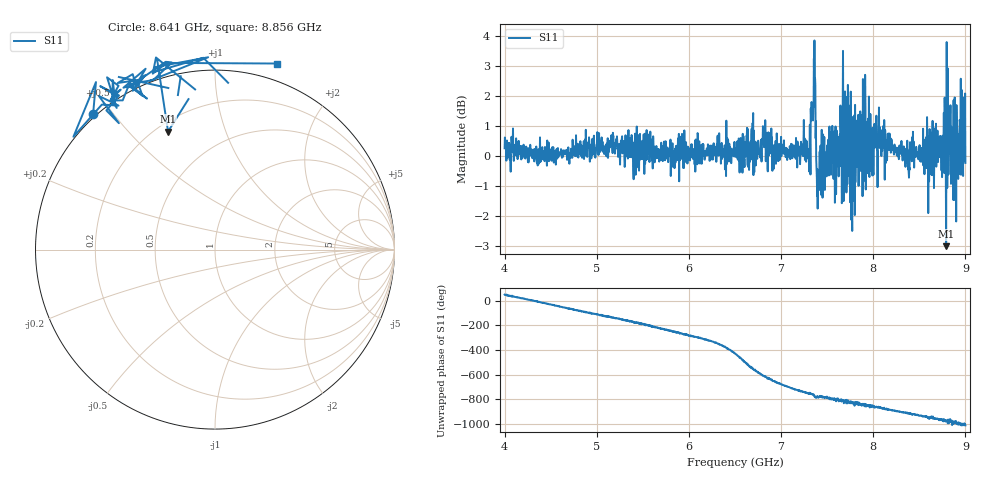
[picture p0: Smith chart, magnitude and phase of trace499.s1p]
! Created with skrf 1.8.0 (http://scikit-rf.org).
# Hz S RI R 50.0
!freq ReS11 ImS11
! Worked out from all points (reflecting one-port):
!   1601 points, 4 GHz to 9 GHz, reference 50 ohm
!   lowest |S11| = -3.0 dB at 8.791 GHz (marker M1), VSWR 5.85, Z = 12.3 + j32.5 ohm
!   phase of S11 starts at 50 deg and turns -1061 deg over the sweep
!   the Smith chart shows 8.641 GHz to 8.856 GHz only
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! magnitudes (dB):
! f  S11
! 4 GHz  0.3
! 4.625 GHz  0.0
! 5.25 GHz  0.0
! 5.875 GHz  0.2
! 6.5 GHz  0.2
! 6.806 GHz  0.8
! 6.925 GHz  0.3
! 7.125 GHz  0.1
! 7.294 GHz  -0.1
! 7.347 GHz  1.2
! 7.409 GHz  -0.9
! 7.538 GHz  0.2
! 7.609 GHz  0.0
! 7.669 GHz  1.7
! 7.75 GHz  -1.5
! 7.775 GHz  1.3
! 7.828 GHz  1.2
! 7.928 GHz  0.9
! 7.981 GHz  -0.1
! 8.097 GHz  0.2
! 8.375 GHz  0.0
! 8.759 GHz  0.0
! 8.766 GHz  1.4
! 8.791 GHz  -3.0
! 8.822 GHz  0.4
! 8.875 GHz  -0.2
! 8.972 GHz  0.4
! 9 GHz  -0.2
